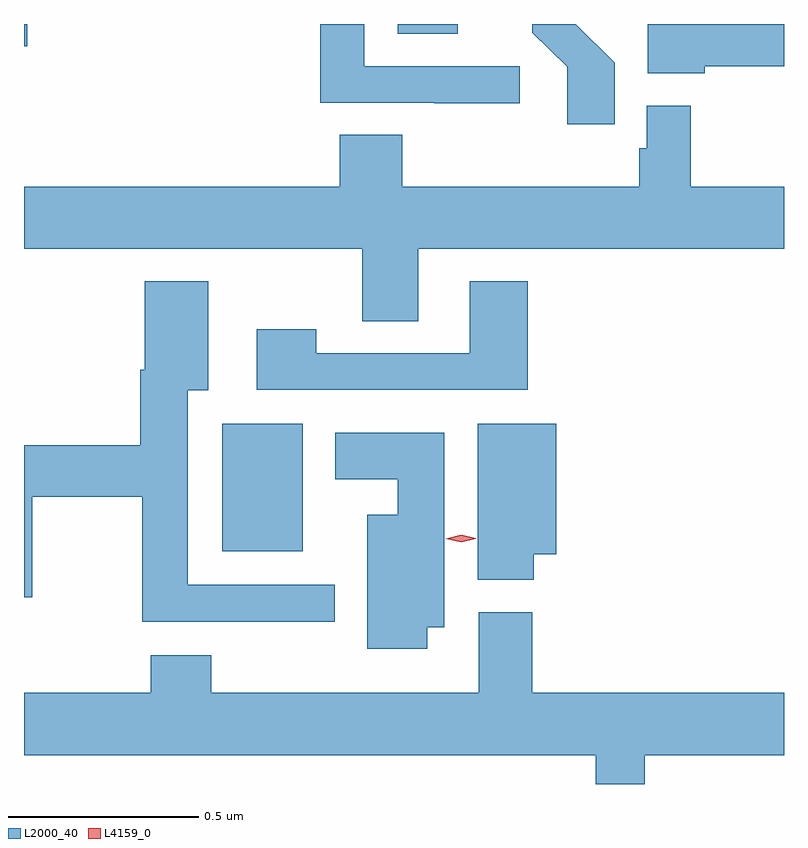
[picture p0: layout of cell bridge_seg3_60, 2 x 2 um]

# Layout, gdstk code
import gdstk
lib = gdstk.Library(unit=1e-6, precision=1e-09)
def R(c, l, rs):  # rectangles x0, y0, x1, y1
    for r in rs: c.add(gdstk.rectangle(r[:2], r[2:], *l))
def P(c, l, *ps):  # polygons
    for p in ps: c.add(gdstk.Polygon(p, *l))
L2000_40 = (2000, 40)
L4159_0 = (4159, 0)

bridge_seg3_60 = lib.new_cell('bridge_seg3_60')
R(bridge_seg3_60, L2000_40, [(576.266,680.141,576.478,680.476), (575.744,681.469,575.753,681.528), (576.728,681.502,576.886,681.528)])
P(bridge_seg3_60, L2000_40, [(577.048,681.417),(576.639,681.417),(576.639,681.528),(576.523,681.528),(576.523,681.321),(576.823,681.321),(576.823,681.319),(577.048,681.319)],
  [(577.535,681.417),(577.744,681.417),(577.744,681.528),(577.385,681.528),(577.385,681.398),(577.535,681.398)],
  [(577.298,681.426),(577.196,681.528),(577.082,681.528),(577.082,681.505),(577.173,681.415),(577.173,681.264),(577.298,681.264)],
  [(576.781,680.936),(577.744,680.936),(577.744,681.1),(577.499,681.1),(577.499,681.313),(577.383,681.313),(577.383,681.201),(577.363,681.201),(577.363,681.1),(576.74,681.1),(576.74,681.236),(576.575,681.236),(576.575,681.1),(575.744,681.1),(575.744,680.936),(576.634,680.936),(576.634,680.746),(576.781,680.746)],
  [(576.562,680.052),(576.175,680.052),(576.175,680.564),(576.229,680.564),(576.229,680.851),(576.062,680.851),(576.062,680.618),(576.05,680.618),(576.05,680.42),(575.744,680.42),(575.744,680.019),(575.766,680.019),(575.766,680.284),(576.055,680.284),(576.055,679.955),(576.562,679.955)],
  [(577.07,680.851),(576.917,680.851),(576.917,680.661),(576.513,680.661),(576.513,680.725),(576.357,680.725),(576.357,680.565),(577.07,680.565)],
  [(577.085,680.132),(577.144,680.132),(577.144,680.476),(576.938,680.476),(576.938,680.065),(577.085,680.065)],
  [(576.805,679.94),(576.85,679.94),(576.85,680.452),(576.563,680.452),(576.563,680.33),(576.728,680.33),(576.728,680.236),(576.647,680.236),(576.647,679.884),(576.805,679.884)],
  [(577.378,679.604),(577.744,679.604),(577.744,679.768),(577.082,679.768),(577.082,679.98),(576.941,679.98),(576.941,679.768),(576.237,679.768),(576.237,679.867),(576.077,679.867),(576.077,679.768),(575.744,679.768),(575.744,679.604),(577.249,679.604),(577.249,679.528),(577.378,679.528)])
P(bridge_seg3_60, L4159_0, [(576.894,680.164),(576.854,680.174),(576.854,680.174),(576.854,680.174),(576.894,680.184),(576.933,680.175),(576.933,680.175),(576.933,680.174)])

lib.write_gds('bridge_seg3_60.gds')
